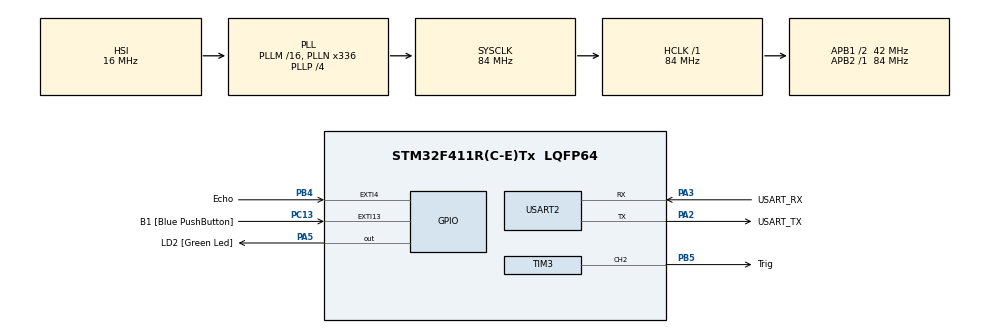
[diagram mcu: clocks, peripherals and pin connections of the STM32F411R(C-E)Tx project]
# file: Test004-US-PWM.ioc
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Mcu.Family=STM32F4
Mcu.Name=STM32F411R(C-E)Tx
Mcu.Package=LQFP64
NVIC.EXTI4_IRQn=true\:0\:0\:false\:false\:true\:true\:true\:true
NVIC.PriorityGroup=NVIC_PRIORITYGROUP_0
PA13.GPIO_Label=TMS
PA13.Mode=Serial_Wire
PA13.Signal=SYS_JTMS-SWDIO
PA14.GPIO_Label=TCK
PA14.Mode=Serial_Wire
PA14.Signal=SYS_JTCK-SWCLK
PA2.GPIO_Label=USART_TX
PA2.Mode=Asynchronous
PA2.Signal=USART2_TX
PA3.GPIO_Label=USART_RX
PA3.Mode=Asynchronous
PA3.Signal=USART2_RX
PA5.GPIO_Label=LD2 [Green Led]
PA5.Signal=GPIO_Output
PB3.GPIO_Label=SWO
PB3.Signal=SYS_JTDO-SWO
PB4.GPIO_Label=Echo
PB4.GPIO_ModeDefaultEXTI=GPIO_MODE_IT_RISING_FALLING
PB4.Signal=GPXTI4
PB5.GPIO_Label=Trig
PB5.Signal=S_TIM3_CH2
PC13-ANTI_TAMP.GPIO_Label=B1 [Blue PushButton]
PC13-ANTI_TAMP.GPIO_ModeDefaultEXTI=GPIO_MODE_IT_FALLING
PC13-ANTI_TAMP.Signal=GPXTI13
PC14-OSC32_IN.Mode=LSE-External-Oscillator
PC14-OSC32_IN.Signal=RCC_OSC32_IN
PC15-OSC32_OUT.Mode=LSE-External-Oscillator
PC15-OSC32_OUT.Signal=RCC_OSC32_OUT
PH0\ -\ OSC_IN.Mode=HSE-External-Clock-Source
PH0\ -\ OSC_IN.Signal=RCC_OSC_IN
PH1\ -\ OSC_OUT.Mode=HSE-External-Clock-Source
PH1\ -\ OSC_OUT.Signal=RCC_OSC_OUT
ProjectManager.HeapSize=0x200
ProjectManager.StackSize=0x400
ProjectManager.TargetToolchain=STM32CubeIDE
RCC.48MHZClocksFreq_Value=84000000
RCC.AHBFreq_Value=84000000
RCC.APB1CLKDivider=RCC_HCLK_DIV2
RCC.APB1Freq_Value=42000000
RCC.APB1TimFreq_Value=84000000
RCC.APB2Freq_Value=84000000
RCC.APB2TimFreq_Value=84000000
RCC.CortexFreq_Value=84000000
RCC.FLatency-AdvancedSettings=FLASH_LATENCY_2
RCC.HCLKFreq_Value=84000000
RCC.HSE_VALUE=8000000
RCC.HSI_VALUE=16000000
RCC.PLLN=336
RCC.PLLP=RCC_PLLP_DIV4
RCC.SYSCLKFreq_VALUE=84000000
RCC.SYSCLKSource=RCC_SYSCLKSOURCE_PLLCLK
RCC.VCOOutputFreq_Value=336000000
SH.S_TIM3_CH2.0=TIM3_CH2,PWM Generation2 CH2
TIM3.Channel-PWM\ Generation2\ CH2=TIM_CHANNEL_2
TIM3.Period=40000-1
TIM3.Prescaler=140-1
TIM3.Pulse-PWM\ Generation2\ CH2=6
TIM5.Prescaler=84-1
USART2.VirtualMode=VM_ASYNC
VP_TIM3_VS_ClockSourceINT.Mode=Internal
VP_TIM5_VS_ClockSourceINT.Mode=Internal
board=NUCLEO-F411RE

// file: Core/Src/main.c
/* USER CODE BEGIN Header */
/**
 ******************************************************************************
 * @file           : main.c
 * @brief          : Main program body
 ******************************************************************************
 * @attention
 *
 * Copyright (c) 2024 STMicroelectronics.
 * All rights reserved.
 *
 * This software is licensed under terms that can be found in the LICENSE file
 * in the root directory of this software component.
 * If no LICENSE file comes with this software, it is provided AS-IS.
 *
 ******************************************************************************
 */
/* USER CODE END Header */
#include "main.h"

TIM_HandleTypeDef htim3;
TIM_HandleTypeDef htim5;

UART_HandleTypeDef huart2;

void SystemClock_Config(void);
static void MX_GPIO_Init(void);
static void MX_USART2_UART_Init(void);
static void MX_TIM3_Init(void);
static void MX_TIM5_Init(void);

/* USER CODE BEGIN 0 */

int ts = 0;  //Time_Echo_Start
double dist = 0.0;
void HAL_GPIO_EXTI_Callback(uint16_t GPIO_Pin) {
	int te = htim5.Instance->CNT;  //htim5 cnt값에 ???��
	if (GPIO_Pin == Echo_Pin) {
		if (HAL_GPIO_ReadPin(Echo_GPIO_Port, Echo_Pin) == 1)
			ts = te;
		else
			dist = (te - ts) * 0.00017;
	}
}

/* USER CODE END 0 */

int main(void)
{

  /* MCU Configuration--------------------------------------------------------*/

  /* Reset of all peripherals, Initializes the Flash interface and the Systick. */
  HAL_Init();

  /* Configure the system clock */
  SystemClock_Config();

  /* Initialize all configured peripherals */
  MX_GPIO_Init();
  MX_USART2_UART_Init();
  MX_TIM3_Init();
  MX_TIM5_Init();
  /* USER CODE BEGIN 2 */

	ProgramStart("Ultra Sonic PWM");
	printf("\033[?25l\n");  //cursor off

	HAL_TIM_Base_Start(&htim5);
	HAL_TIM_PWM_Start(&htim3, TIM_CHANNEL_2);
  /* USER CODE END 2 */

  /* Infinite loop */
	while (1) {

    /* USER CODE BEGIN 3 */
		double d = dist * 100;
		printf("\033[10;25H\033#3Distance : %.2f cm   ", d);   //upper half
		printf("\033[11;25H\033#4Distance : %.2f cm   \n", d);  //under half
	}
  /* USER CODE END 3 */
}

void SystemClock_Config(void)
{
  RCC_OscInitTypeDef RCC_OscInitStruct = {0};
  RCC_ClkInitTypeDef RCC_ClkInitStruct = {0};

  /** Configure the main internal regulator output voltage
  */
  __HAL_RCC_PWR_CLK_ENABLE();
  __HAL_PWR_VOLTAGESCALING_CONFIG(PWR_REGULATOR_VOLTAGE_SCALE1);

  /** Initializes the RCC Oscillators according to the specified parameters
  * in the RCC_OscInitTypeDef structure.
  */
  RCC_OscInitStruct.OscillatorType = RCC_OSCILLATORTYPE_HSI;
  RCC_OscInitStruct.HSIState = RCC_HSI_ON;
  RCC_OscInitStruct.HSICalibrationValue = RCC_HSICALIBRATION_DEFAULT;
  RCC_OscInitStruct.PLL.PLLState = RCC_PLL_ON;
  RCC_OscInitStruct.PLL.PLLSource = RCC_PLLSOURCE_HSI;
  RCC_OscInitStruct.PLL.PLLM = 16;
  RCC_OscInitStruct.PLL.PLLN = 336;
  RCC_OscInitStruct.PLL.PLLP = RCC_PLLP_DIV4;
  RCC_OscInitStruct.PLL.PLLQ = 4;
  if (HAL_RCC_OscConfig(&RCC_OscInitStruct) != HAL_OK)
  {
    Error_Handler();
  }

  /** Initializes the CPU, AHB and APB buses clocks
  */
  RCC_ClkInitStruct.ClockType = RCC_CLOCKTYPE_HCLK|RCC_CLOCKTYPE_SYSCLK
                              |RCC_CLOCKTYPE_PCLK1|RCC_CLOCKTYPE_PCLK2;
  RCC_ClkInitStruct.SYSCLKSource = RCC_SYSCLKSOURCE_PLLCLK;
  RCC_ClkInitStruct.AHBCLKDivider = RCC_SYSCLK_DIV1;
  RCC_ClkInitStruct.APB1CLKDivider = RCC_HCLK_DIV2;
  RCC_ClkInitStruct.APB2CLKDivider = RCC_HCLK_DIV1;

  if (HAL_RCC_ClockConfig(&RCC_ClkInitStruct, FLASH_LATENCY_2) != HAL_OK)
  {
    Error_Handler();
  }
}

static void MX_TIM3_Init(void)
{

  TIM_ClockConfigTypeDef sClockSourceConfig = {0};
  TIM_MasterConfigTypeDef sMasterConfig = {0};
  TIM_OC_InitTypeDef sConfigOC = {0};

  htim3.Instance = TIM3;
  htim3.Init.Prescaler = 140-1;
  htim3.Init.CounterMode = TIM_COUNTERMODE_UP;
  htim3.Init.Period = 40000-1;
  htim3.Init.ClockDivision = TIM_CLOCKDIVISION_DIV1;
  htim3.Init.AutoReloadPreload = TIM_AUTORELOAD_PRELOAD_DISABLE;
  if (HAL_TIM_Base_Init(&htim3) != HAL_OK)
  {
    Error_Handler();
  }
  sClockSourceConfig.ClockSource = TIM_CLOCKSOURCE_INTERNAL;
  if (HAL_TIM_ConfigClockSource(&htim3, &sClockSourceConfig) != HAL_OK)
  {
    Error_Handler();
  }
  if (HAL_TIM_PWM_Init(&htim3) != HAL_OK)
  {
    Error_Handler();
  }
  sMasterConfig.MasterOutputTrigger = TIM_TRGO_RESET;
  sMasterConfig.MasterSlaveMode = TIM_MASTERSLAVEMODE_DISABLE;
  if (HAL_TIMEx_MasterConfigSynchronization(&htim3, &sMasterConfig) != HAL_OK)
  {
    Error_Handler();
  }
  sConfigOC.OCMode = TIM_OCMODE_PWM1;
  sConfigOC.Pulse = 6;
  sConfigOC.OCPolarity = TIM_OCPOLARITY_HIGH;
  sConfigOC.OCFastMode = TIM_OCFAST_DISABLE;
  if (HAL_TIM_PWM_ConfigChannel(&htim3, &sConfigOC, TIM_CHANNEL_2) != HAL_OK)
  {
    Error_Handler();
  }
  HAL_TIM_MspPostInit(&htim3);

}

static void MX_TIM5_Init(void)
{

  TIM_ClockConfigTypeDef sClockSourceConfig = {0};
  TIM_MasterConfigTypeDef sMasterConfig = {0};

  htim5.Instance = TIM5;
  htim5.Init.Prescaler = 84-1;
  htim5.Init.CounterMode = TIM_COUNTERMODE_UP;
  htim5.Init.Period = 4294967295;
  htim5.Init.ClockDivision = TIM_CLOCKDIVISION_DIV1;
  htim5.Init.AutoReloadPreload = TIM_AUTORELOAD_PRELOAD_DISABLE;
  if (HAL_TIM_Base_Init(&htim5) != HAL_OK)
  {
    Error_Handler();
  }
  sClockSourceConfig.ClockSource = TIM_CLOCKSOURCE_INTERNAL;
  if (HAL_TIM_ConfigClockSource(&htim5, &sClockSourceConfig) != HAL_OK)
  {
    Error_Handler();
  }
  sMasterConfig.MasterOutputTrigger = TIM_TRGO_RESET;
  sMasterConfig.MasterSlaveMode = TIM_MASTERSLAVEMODE_DISABLE;
  if (HAL_TIMEx_MasterConfigSynchronization(&htim5, &sMasterConfig) != HAL_OK)
  {
    Error_Handler();
  }

}

static void MX_USART2_UART_Init(void)
{

  huart2.Instance = USART2;
  huart2.Init.BaudRate = 115200;
  huart2.Init.WordLength = UART_WORDLENGTH_8B;
  huart2.Init.StopBits = UART_STOPBITS_1;
  huart2.Init.Parity = UART_PARITY_NONE;
  huart2.Init.Mode = UART_MODE_TX_RX;
  huart2.Init.HwFlowCtl = UART_HWCONTROL_NONE;
  huart2.Init.OverSampling = UART_OVERSAMPLING_16;
  if (HAL_UART_Init(&huart2) != HAL_OK)
  {
    Error_Handler();
  }

}

static void MX_GPIO_Init(void)
{
  GPIO_InitTypeDef GPIO_InitStruct = {0};

  /* GPIO Ports Clock Enable */
  __HAL_RCC_GPIOC_CLK_ENABLE();
  __HAL_RCC_GPIOH_CLK_ENABLE();
  __HAL_RCC_GPIOA_CLK_ENABLE();
  __HAL_RCC_GPIOB_CLK_ENABLE();

  /*Configure GPIO pin Output Level */
  HAL_GPIO_WritePin(LD2_GPIO_Port, LD2_Pin, GPIO_PIN_RESET);

  /*Configure GPIO pin : B1_Pin */
  GPIO_InitStruct.Pin = B1_Pin;
  GPIO_InitStruct.Mode = GPIO_MODE_IT_FALLING;
  GPIO_InitStruct.Pull = GPIO_NOPULL;
  HAL_GPIO_Init(B1_GPIO_Port, &GPIO_InitStruct);

  /*Configure GPIO pin : LD2_Pin */
  GPIO_InitStruct.Pin = LD2_Pin;
  GPIO_InitStruct.Mode = GPIO_MODE_OUTPUT_PP;
  GPIO_InitStruct.Pull = GPIO_NOPULL;
  GPIO_InitStruct.Speed = GPIO_SPEED_FREQ_LOW;
  HAL_GPIO_Init(LD2_GPIO_Port, &GPIO_InitStruct);

  /*Configure GPIO pin : Echo_Pin */
  GPIO_InitStruct.Pin = Echo_Pin;
  GPIO_InitStruct.Mode = GPIO_MODE_IT_RISING_FALLING;
  GPIO_InitStruct.Pull = GPIO_NOPULL;
  HAL_GPIO_Init(Echo_GPIO_Port, &GPIO_InitStruct);

  /* EXTI interrupt init*/
  HAL_NVIC_SetPriority(EXTI4_IRQn, 0, 0);
  HAL_NVIC_EnableIRQ(EXTI4_IRQn);

}

void Error_Handler(void)
{
	__disable_irq();
	while (1) {
	}
}
